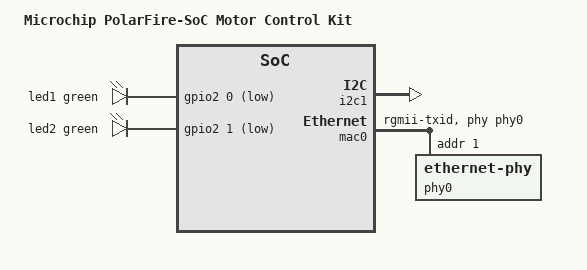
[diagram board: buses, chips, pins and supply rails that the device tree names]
// SPDX-License-Identifier: (GPL-2.0 OR MIT)
/* Copyright (c) 2025-2026 Microchip Technology Inc */

/dts-v1/;

#include "../../../dts/upstream/src/riscv/microchip/mpfs.dtsi"
#include "microchip-mpfs095-som.dtsi"
#include <dt-bindings/gpio/gpio.h>
#include <dt-bindings/leds/common.h>

/ {
	model = "Microchip PolarFire-SoC Motor Control Kit";
	compatible = "microchip,mpfs-motor-control-kit-base-rtlv2601",
		     "microchip,mpfs-motor-control-kit",
		     "microchip,mpfs095-som", "microchip,mpfs";

	aliases {
		ethernet0 = &mac0;
		serial0 = &mmuart0;
		serial1 = &mmuart1;
	};

	chosen {
		stdout-path = "serial0:115200n8";
	};

	leds {
		compatible = "gpio-leds";

		led-1 {
			gpios = <&gpio2 0 GPIO_ACTIVE_LOW>;
			color = <LED_COLOR_ID_GREEN>;
			label = "led1";
		};

		led-2 {
			gpios = <&gpio2 1 GPIO_ACTIVE_LOW>;
			color = <LED_COLOR_ID_GREEN>;
			label = "led2";
		};
	};
};

&gpio2 {
	status = "okay";
};

&i2c1 {
	status = "okay";
};

&mac0 {
	phy-mode = "rgmii-txid";
	phy-handle = <&phy0>;
	status = "okay";

	phy0: ethernet-phy@1 {
		reg = <1>;
	};
};

&mmuart0 {
	status = "okay";
};

&mmuart1 {
	status = "okay";
};
